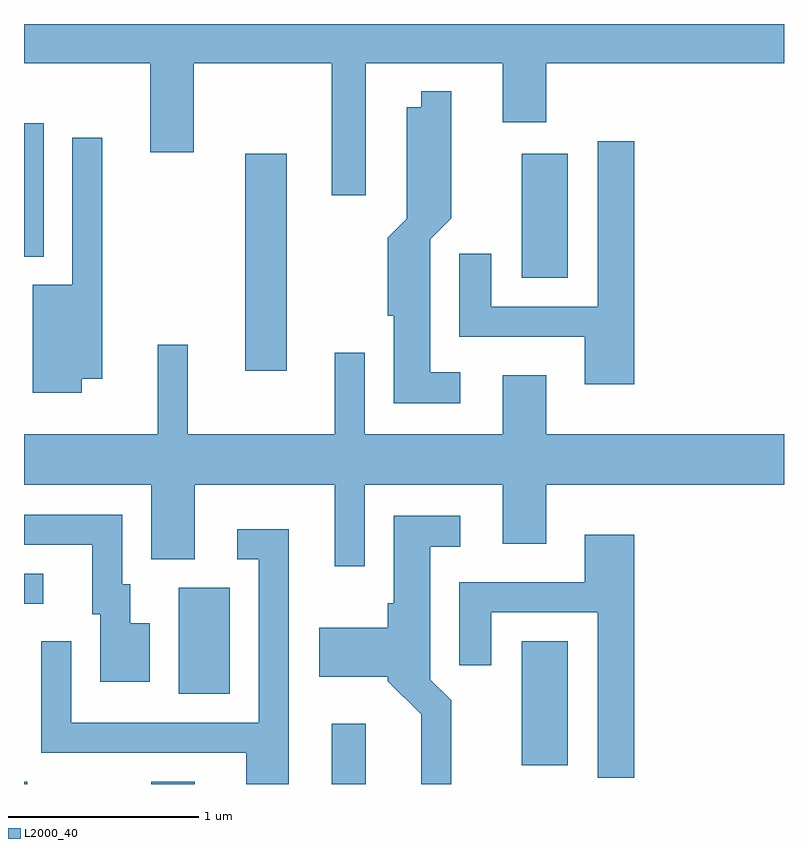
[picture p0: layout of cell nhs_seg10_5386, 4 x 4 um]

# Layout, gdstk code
import gdstk
lib = gdstk.Library(unit=1e-6, precision=1e-09)
def R(c, l, rs):  # rectangles x0, y0, x1, y1
    for r in rs: c.add(gdstk.rectangle(r[:2], r[2:], *l))
def P(c, l, *ps):  # polygons
    for p in ps: c.add(gdstk.Polygon(p, *l))
L2000_40 = (2000, 40)

nhs_seg10_5386 = lib.new_cell('nhs_seg10_5386')
R(nhs_seg10_5386, L2000_40, [(343.611,2154.522,343.628,2154.534), (344.281,2154.522,344.509,2154.534), (345.231,2154.522,345.409,2154.839), (346.231,2154.621,346.474,2155.274), (344.426,2154.996,344.694,2155.554), (343.611,2155.471,343.713,2155.629), (344.776,2156.696,344.994,2157.839), (346.231,2157.186,346.474,2157.839), (343.611,2157.298,343.714,2157.999)])
P(nhs_seg10_5386, L2000_40, [(345.409,2158.316),(346.131,2158.316),(346.131,2158.006),(346.359,2158.006),(346.359,2158.316),(347.611,2158.316),(347.611,2158.522),(343.611,2158.522),(343.611,2158.316),(344.276,2158.316),(344.276,2157.846),(344.504,2157.846),(344.504,2158.316),(345.231,2158.316),(345.231,2157.621),(345.409,2157.621)],
  [(345.908,2156.689),(345.749,2156.689),(345.749,2157.389),(345.859,2157.499),(345.859,2158.168),(345.701,2158.168),(345.701,2158.084),(345.626,2158.084),(345.626,2157.497),(345.526,2157.397),(345.526,2156.986),(345.556,2156.986),(345.556,2156.526),(345.908,2156.526)],
  [(343.914,2156.656),(344.024,2156.656),(344.024,2157.923),(343.866,2157.923),(343.866,2157.149),(343.656,2157.149),(343.656,2156.581),(343.914,2156.581)],
  [(346.824,2157.904),(346.631,2157.904),(346.631,2157.034),(346.069,2157.034),(346.069,2157.313),(345.901,2157.313),(345.901,2156.876),(346.561,2156.876),(346.561,2156.626),(346.824,2156.626)],
  [(345.404,2156.096),(346.131,2156.096),(346.131,2155.786),(346.359,2155.786),(346.359,2156.096),(347.611,2156.096),(347.611,2156.364),(346.359,2156.364),(346.359,2156.674),(346.131,2156.674),(346.131,2156.364),(345.404,2156.364),(345.404,2156.793),(345.246,2156.793),(345.246,2156.364),(344.474,2156.364),(344.474,2156.833),(344.316,2156.833),(344.316,2156.364),(343.611,2156.364),(343.611,2156.096),(344.281,2156.096),(344.281,2155.706),(344.509,2155.706),(344.509,2156.096),(345.246,2156.096),(345.246,2155.668),(345.404,2155.668)],
  [(344.274,2155.369),(344.169,2155.369),(344.169,2155.574),(344.129,2155.574),(344.129,2155.939),(343.611,2155.939),(343.611,2155.781),(343.971,2155.781),(343.971,2155.416),(344.011,2155.416),(344.011,2155.061),(344.274,2155.061)],
  [(345.859,2154.962),(345.749,2155.072),(345.749,2155.771),(345.908,2155.771),(345.908,2155.934),(345.556,2155.934),(345.556,2155.474),(345.526,2155.474),(345.526,2155.344),(345.166,2155.344),(345.166,2155.086),(345.526,2155.086),(345.526,2155.064),(345.701,2154.889),(345.701,2154.522),(345.859,2154.522)],
  [(345.004,2155.864),(344.733,2155.864),(344.733,2155.706),(344.846,2155.706),(344.846,2154.844),(343.859,2154.844),(343.859,2155.273),(343.701,2155.273),(343.701,2154.686),(344.781,2154.686),(344.781,2154.522),(345.004,2154.522)],
  [(346.824,2155.834),(346.561,2155.834),(346.561,2155.584),(345.901,2155.584),(345.901,2155.148),(346.069,2155.148),(346.069,2155.426),(346.631,2155.426),(346.631,2154.556),(346.824,2154.556)])

lib.write_gds('nhs_seg10_5386.gds')
